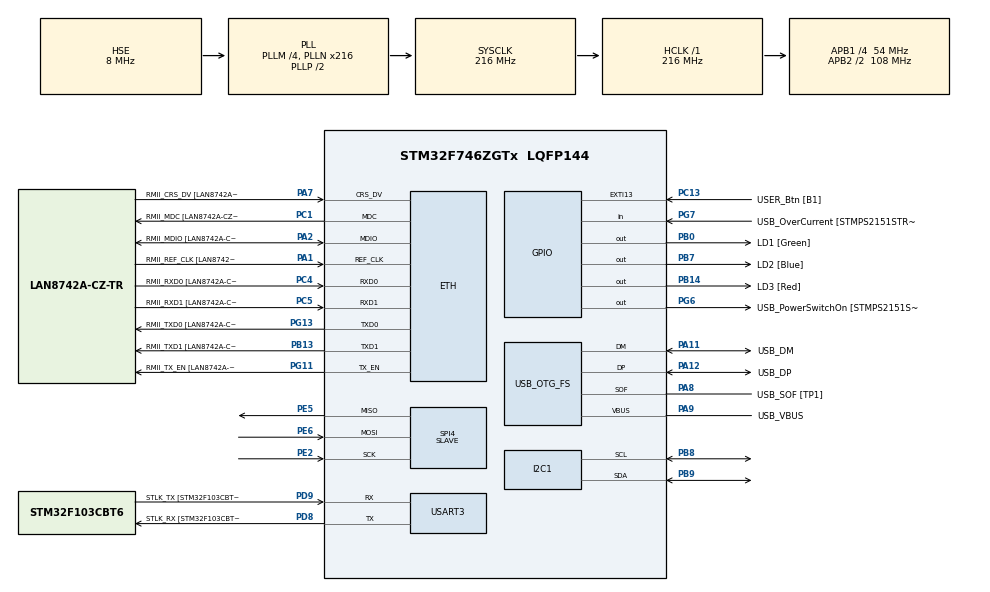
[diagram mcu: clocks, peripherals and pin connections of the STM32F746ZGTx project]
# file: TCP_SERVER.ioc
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CORTEX_M7.ART_ACCELERATOR_ENABLE=1
CORTEX_M7.AccessPermission-Cortex_Memory_Protection_Unit_Region0_Settings=MPU_REGION_FULL_ACCESS
CORTEX_M7.AccessPermission-Cortex_Memory_Protection_Unit_Region1_Settings=MPU_REGION_FULL_ACCESS
CORTEX_M7.BaseAddress-Cortex_Memory_Protection_Unit_Region0_Settings=0x2004c000
CORTEX_M7.BaseAddress-Cortex_Memory_Protection_Unit_Region1_Settings=0x20048000
CORTEX_M7.CPU_DCache=Enabled
CORTEX_M7.CPU_ICache=Enabled
CORTEX_M7.DisableExec-Cortex_Memory_Protection_Unit_Region0_Settings=MPU_INSTRUCTION_ACCESS_DISABLE
CORTEX_M7.DisableExec-Cortex_Memory_Protection_Unit_Region1_Settings=MPU_INSTRUCTION_ACCESS_DISABLE
CORTEX_M7.Enable-Cortex_Memory_Protection_Unit_Region0_Settings=MPU_REGION_ENABLE
CORTEX_M7.Enable-Cortex_Memory_Protection_Unit_Region1_Settings=MPU_REGION_ENABLE
CORTEX_M7.IsShareable-Cortex_Memory_Protection_Unit_Region0_Settings=MPU_ACCESS_SHAREABLE
CORTEX_M7.IsShareable-Cortex_Memory_Protection_Unit_Region1_Settings=MPU_ACCESS_SHAREABLE
CORTEX_M7.MPU_Control=MPU_PRIVILEGED_DEFAULT
CORTEX_M7.PREFETCH_ENABLE=1
CORTEX_M7.Size-Cortex_Memory_Protection_Unit_Region0_Settings=MPU_REGION_SIZE_512B
CORTEX_M7.Size-Cortex_Memory_Protection_Unit_Region1_Settings=MPU_REGION_SIZE_32KB
CORTEX_M7.TypeExtField-Cortex_Memory_Protection_Unit_Region1_Settings=MPU_TEX_LEVEL1
ETH.MediaInterface=HAL_ETH_RMII_MODE
ETH.PHY_Name=LAN8742A_PHY_ADDRESS
ETH.PHY_Value=0
ETH.PhyAddress=0
I2C1.Timing=0x20404768
LWIP.BSP.number=1
LWIP.GATEWAY_ADDRESS=192.168.001.001
LWIP.IP_ADDRESS=192.168.001.110
LWIP.LWIP_DHCP=0
LWIP.NETMASK_ADDRESS=255.255.255.000
LWIP.Version=v2.1.2_Cube
LWIP0.BSP.STBoard=false
LWIP0.BSP.api=BSP_COMPONENT_DRIVER
LWIP0.BSP.component=LAN8742
LWIP0.BSP.instance=LAN8742
LWIP0.BSP.name=Driver_PHY
LWIP0.BSP.semaphore=S_LAN8742
LWIP0.BSP.solution=LAN8742
Mcu.Family=STM32F7
Mcu.Name=STM32F746ZGTx
Mcu.Package=LQFP144
NVIC.PriorityGroup=NVIC_PRIORITYGROUP_4
PA1.GPIO_Label=RMII_REF_CLK [LAN8742A-CZ-TR_REFCLK0]
PA1.Mode=RMII
PA1.Signal=ETH_REF_CLK
PA10.GPIO_Label=USB_ID
PA10.Signal=USB_OTG_FS_ID
PA11.GPIO_Label=USB_DM
PA11.Mode=Device_Only
PA11.Signal=USB_OTG_FS_DM
PA12.GPIO_Label=USB_DP
PA12.Mode=Device_Only
PA12.Signal=USB_OTG_FS_DP
PA13.GPIO_Label=TMS
PA13.Mode=Serial_Wire
PA13.Signal=SYS_JTMS-SWDIO
PA14.GPIO_Label=TCK
PA14.Mode=Serial_Wire
PA14.Signal=SYS_JTCK-SWCLK
PA2.GPIO_Label=RMII_MDIO [LAN8742A-CZ-TR_MDIO]
PA2.Mode=RMII
PA2.Signal=ETH_MDIO
PA7.GPIO_Label=RMII_CRS_DV [LAN8742A-CZ-TR_CRS_DV]
PA7.Mode=RMII
PA7.Signal=ETH_CRS_DV
PA8.GPIO_Label=USB_SOF [TP1]
PA8.Mode=Activate_SOF_FS
PA8.Signal=USB_OTG_FS_SOF
PA9.GPIO_Label=USB_VBUS
PA9.Mode=Activate_VBUS
PA9.Signal=USB_OTG_FS_VBUS
PB0.GPIO_Label=LD1 [Green]
PB0.Signal=GPIO_Output
PB13.GPIO_Label=RMII_TXD1 [LAN8742A-CZ-TR_TXD1]
PB13.Mode=RMII
PB13.Signal=ETH_TXD1
PB14.GPIO_Label=LD3 [Red]
PB14.Signal=GPIO_Output
PB3.GPIO_Label=SW0
PB3.Signal=SYS_JTDO-SWO
PB7.GPIO_Label=LD2 [Blue]
PB7.Signal=GPIO_Output
PB8.Mode=I2C
PB8.Signal=I2C1_SCL
PB9.Mode=I2C
PB9.Signal=I2C1_SDA
PC1.GPIO_Label=RMII_MDC [LAN8742A-CZ-TR_MDC]
PC1.Mode=RMII
PC1.Signal=ETH_MDC
PC13.GPIO_Label=USER_Btn [B1]
PC13.Signal=GPXTI13
PC14/OSC32_IN.Mode=LSE-External-Oscillator
PC14/OSC32_IN.Signal=RCC_OSC32_IN
PC15/OSC32_OUT.Mode=LSE-External-Oscillator
PC15/OSC32_OUT.Signal=RCC_OSC32_OUT
PC4.GPIO_Label=RMII_RXD0 [LAN8742A-CZ-TR_RXD0]
PC4.Mode=RMII
PC4.Signal=ETH_RXD0
PC5.GPIO_Label=RMII_RXD1 [LAN8742A-CZ-TR_RXD1]
PC5.Mode=RMII
PC5.Signal=ETH_RXD1
PD8.GPIO_Label=STLK_RX [STM32F103CBT6_PA3]
PD8.GPIO_PuPd=GPIO_PULLUP
PD8.Mode=Asynchronous
PD8.Signal=USART3_TX
PD9.GPIO_Label=STLK_TX [STM32F103CBT6_PA2]
PD9.GPIO_PuPd=GPIO_PULLUP
PD9.Mode=Asynchronous
PD9.Signal=USART3_RX
PE2.Mode=Full_Duplex_Slave
PE2.Signal=SPI4_SCK
PE5.Mode=Full_Duplex_Slave
PE5.Signal=SPI4_MISO
PE6.Mode=Full_Duplex_Slave
PE6.Signal=SPI4_MOSI
PG11.GPIO_Label=RMII_TX_EN [LAN8742A-CZ-TR_TXEN]
PG11.Mode=RMII
PG11.Signal=ETH_TX_EN
PG13.GPIO_Label=RMII_TXD0 [LAN8742A-CZ-TR_TXD0]
PG13.Mode=RMII
PG13.Signal=ETH_TXD0
PG6.GPIO_Label=USB_PowerSwitchOn [STMPS2151STR_EN]
PG6.Signal=GPIO_Output
PG7.GPIO_Label=USB_OverCurrent [STMPS2151STR_FAULT]
PG7.Signal=GPIO_Input
PH0/OSC_IN.GPIO_Label=MCO [STM32F103CBT6_PA8]
PH0/OSC_IN.Mode=HSE-External-Clock-Source
PH0/OSC_IN.Signal=RCC_OSC_IN
PH1/OSC_OUT.Mode=HSE-External-Clock-Source
PH1/OSC_OUT.Signal=RCC_OSC_OUT
ProjectManager.HeapSize=0x200
ProjectManager.StackSize=0x400
ProjectManager.TargetToolchain=STM32CubeIDE
RCC.48MHZClocksFreq_Value=24000000
RCC.AHBFreq_Value=216000000
RCC.APB1CLKDivider=RCC_HCLK_DIV4
RCC.APB1Freq_Value=54000000
RCC.APB1TimFreq_Value=108000000
RCC.APB2CLKDivider=RCC_HCLK_DIV2
RCC.APB2Freq_Value=108000000
RCC.APB2TimFreq_Value=216000000
RCC.CortexFreq_Value=216000000
RCC.HCLKFreq_Value=216000000
RCC.HSE_VALUE=8000000
RCC.HSI_VALUE=16000000
RCC.PLLM=4
RCC.PLLMUL=RCC_PLL_MUL9
RCC.PLLN=216
RCC.PLLQ=9
RCC.PRESCALERUSB=RCC_USBCLKSOURCE_PLL_DIV1_5
RCC.SYSCLKFreq_VALUE=216000000
RCC.SYSCLKSource=RCC_SYSCLKSOURCE_PLLCLK
RCC.SYSCLKSourceVirtual=RCC_SYSCLKSOURCE_PLLCLK
RCC.USBFreq_Value=48000000
RCC.VCOOutputFreq_Value=432000000
SPI4.DataSize=SPI_DATASIZE_8BIT
SPI4.Direction=SPI_DIRECTION_2LINES
SPI4.Mode=SPI_MODE_SLAVE
SPI4.VirtualType=VM_SLAVE
USART3.VirtualMode-Asynchronous=VM_ASYNC
USB_OTG_FS.VirtualMode=Device_Only
VP_LWIP_VS_Enabled.Mode=Enabled
board=NUCLEO-F746ZG

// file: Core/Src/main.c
/* USER CODE BEGIN Header */
/**
  ******************************************************************************
  * @file           : main.c
  * @brief          : Main program body
  ******************************************************************************
  * @attention
  *
  * Copyright (c) 2025 STMicroelectronics.
  * All rights reserved.
  *
  * This software is licensed under terms that can be found in the LICENSE file
  * in the root directory of this software component.
  * If no LICENSE file comes with this software, it is provided AS-IS.
  *
  ******************************************************************************
  */
/* USER CODE END Header */
#include "main.h"
#include "lwip.h"

/* USER CODE BEGIN Includes */
#include "DAP.h"
#include "helper.h"
#include "port.h"
#include "jtag.h"
/* USER CODE END Includes */

I2C_HandleTypeDef hi2c1;

SPI_HandleTypeDef hspi4;

UART_HandleTypeDef huart3;

PCD_HandleTypeDef hpcd_USB_OTG_FS;

/* USER CODE BEGIN PV */
extern struct netif gnetif;
uint8_t wrBuff[128] = {0};
uint8_t rdBuff[128] = {0};
uint8_t wrIdx = 0;
uint8_t rdIdx = 0;
volatile uint32_t msgAvailable;
/* USER CODE END PV */

void SystemClock_Config(void);
static void MPU_Config(void);
static void MX_GPIO_Init(void);
static void MX_I2C1_Init(void);
static void MX_USART3_UART_Init(void);
static void MX_USB_OTG_FS_PCD_Init(void);
static void MX_SPI4_Init(void);

int main(void)
{

  /* MPU Configuration--------------------------------------------------------*/
  MPU_Config();

  /* Enable the CPU Cache */

  /* Enable I-Cache---------------------------------------------------------*/
  SCB_EnableICache();

  /* Enable D-Cache---------------------------------------------------------*/
  SCB_EnableDCache();

  /* MCU Configuration--------------------------------------------------------*/

  /* Reset of all peripherals, Initializes the Flash interface and the Systick. */
  HAL_Init();

  /* Configure the system clock */
  SystemClock_Config();

  /* Initialize all configured peripherals */
  MX_GPIO_Init();
  MX_I2C1_Init();
  MX_USART3_UART_Init();
  MX_USB_OTG_FS_PCD_Init();
  MX_LWIP_Init();
  MX_SPI4_Init();
  /* USER CODE BEGIN 2 */
  tcp_server_init();

  HardResetSPI();

  Switch_SPI();

  /* USER CODE END 2 */

  /* Infinite loop */
  /* USER CODE BEGIN WHILE */

  while (1)
  {
	  uint32_t num;
	  MX_LWIP_Process();
/*
	  if(msgAvailable)
	  {
		  uint32_t readLen, writeLen;

		  num = DAP_ProcessCommand(rdBuff, wrBuff);

		  readLen = (num & 0xFFFF0000) >> 16;

		  writeLen = (num & 0xFFFF);

		  msgAvailable = 0;

	  }
 */

    /* USER CODE END WHILE */

  }
}

void SystemClock_Config(void)
{
  RCC_OscInitTypeDef RCC_OscInitStruct = {0};
  RCC_ClkInitTypeDef RCC_ClkInitStruct = {0};

  /** Configure LSE Drive Capability
  */
  HAL_PWR_EnableBkUpAccess();

  /** Configure the main internal regulator output voltage
  */
  __HAL_RCC_PWR_CLK_ENABLE();
  __HAL_PWR_VOLTAGESCALING_CONFIG(PWR_REGULATOR_VOLTAGE_SCALE1);

  /** Initializes the RCC Oscillators according to the specified parameters
  * in the RCC_OscInitTypeDef structure.
  */
  RCC_OscInitStruct.OscillatorType = RCC_OSCILLATORTYPE_HSE;
  RCC_OscInitStruct.HSEState = RCC_HSE_BYPASS;
  RCC_OscInitStruct.PLL.PLLState = RCC_PLL_ON;
  RCC_OscInitStruct.PLL.PLLSource = RCC_PLLSOURCE_HSE;
  RCC_OscInitStruct.PLL.PLLM = 4;
  RCC_OscInitStruct.PLL.PLLN = 216;
  RCC_OscInitStruct.PLL.PLLP = RCC_PLLP_DIV2;
  RCC_OscInitStruct.PLL.PLLQ = 9;
  if (HAL_RCC_OscConfig(&RCC_OscInitStruct) != HAL_OK)
  {
    Error_Handler();
  }

  /** Activate the Over-Drive mode
  */
  if (HAL_PWREx_EnableOverDrive() != HAL_OK)
  {
    Error_Handler();
  }

  /** Initializes the CPU, AHB and APB buses clocks
  */
  RCC_ClkInitStruct.ClockType = RCC_CLOCKTYPE_HCLK|RCC_CLOCKTYPE_SYSCLK
                              |RCC_CLOCKTYPE_PCLK1|RCC_CLOCKTYPE_PCLK2;
  RCC_ClkInitStruct.SYSCLKSource = RCC_SYSCLKSOURCE_PLLCLK;
  RCC_ClkInitStruct.AHBCLKDivider = RCC_SYSCLK_DIV1;
  RCC_ClkInitStruct.APB1CLKDivider = RCC_HCLK_DIV4;
  RCC_ClkInitStruct.APB2CLKDivider = RCC_HCLK_DIV2;

  if (HAL_RCC_ClockConfig(&RCC_ClkInitStruct, FLASH_LATENCY_7) != HAL_OK)
  {
    Error_Handler();
  }
}

static void MX_I2C1_Init(void)
{

  hi2c1.Instance = I2C1;
  hi2c1.Init.Timing = 0x20404768;
  hi2c1.Init.OwnAddress1 = 0;
  hi2c1.Init.AddressingMode = I2C_ADDRESSINGMODE_7BIT;
  hi2c1.Init.DualAddressMode = I2C_DUALADDRESS_DISABLE;
  hi2c1.Init.OwnAddress2 = 0;
  hi2c1.Init.OwnAddress2Masks = I2C_OA2_NOMASK;
  hi2c1.Init.GeneralCallMode = I2C_GENERALCALL_DISABLE;
  hi2c1.Init.NoStretchMode = I2C_NOSTRETCH_DISABLE;
  if (HAL_I2C_Init(&hi2c1) != HAL_OK)
  {
    Error_Handler();
  }

  /** Configure Analogue filter
  */
  if (HAL_I2CEx_ConfigAnalogFilter(&hi2c1, I2C_ANALOGFILTER_ENABLE) != HAL_OK)
  {
    Error_Handler();
  }

  /** Configure Digital filter
  */
  if (HAL_I2CEx_ConfigDigitalFilter(&hi2c1, 0) != HAL_OK)
  {
    Error_Handler();
  }

}

static void MX_SPI4_Init(void)
{

  /* SPI4 parameter configuration*/
  hspi4.Instance = SPI4;
  hspi4.Init.Mode = SPI_MODE_SLAVE;
  hspi4.Init.Direction = SPI_DIRECTION_2LINES;
  hspi4.Init.DataSize = SPI_DATASIZE_8BIT;
  hspi4.Init.CLKPolarity = SPI_POLARITY_LOW;
  hspi4.Init.CLKPhase = SPI_PHASE_1EDGE;
  hspi4.Init.NSS = SPI_NSS_SOFT;
  hspi4.Init.FirstBit = SPI_FIRSTBIT_MSB;
  hspi4.Init.TIMode = SPI_TIMODE_DISABLE;
  hspi4.Init.CRCCalculation = SPI_CRCCALCULATION_DISABLE;
  hspi4.Init.CRCPolynomial = 7;
  hspi4.Init.CRCLength = SPI_CRC_LENGTH_DATASIZE;
  hspi4.Init.NSSPMode = SPI_NSS_PULSE_DISABLE;
  if (HAL_SPI_Init(&hspi4) != HAL_OK)
  {
    Error_Handler();
  }

}

static void MX_USART3_UART_Init(void)
{

  huart3.Instance = USART3;
  huart3.Init.BaudRate = 115200;
  huart3.Init.WordLength = UART_WORDLENGTH_8B;
  huart3.Init.StopBits = UART_STOPBITS_1;
  huart3.Init.Parity = UART_PARITY_NONE;
  huart3.Init.Mode = UART_MODE_TX_RX;
  huart3.Init.HwFlowCtl = UART_HWCONTROL_NONE;
  huart3.Init.OverSampling = UART_OVERSAMPLING_16;
  huart3.Init.OneBitSampling = UART_ONE_BIT_SAMPLE_DISABLE;
  huart3.AdvancedInit.AdvFeatureInit = UART_ADVFEATURE_NO_INIT;
  if (HAL_UART_Init(&huart3) != HAL_OK)
  {
    Error_Handler();
  }

}

static void MX_USB_OTG_FS_PCD_Init(void)
{

  hpcd_USB_OTG_FS.Instance = USB_OTG_FS;
  hpcd_USB_OTG_FS.Init.dev_endpoints = 6;
  hpcd_USB_OTG_FS.Init.speed = PCD_SPEED_FULL;
  hpcd_USB_OTG_FS.Init.dma_enable = DISABLE;
  hpcd_USB_OTG_FS.Init.phy_itface = PCD_PHY_EMBEDDED;
  hpcd_USB_OTG_FS.Init.Sof_enable = ENABLE;
  hpcd_USB_OTG_FS.Init.low_power_enable = DISABLE;
  hpcd_USB_OTG_FS.Init.lpm_enable = DISABLE;
  hpcd_USB_OTG_FS.Init.vbus_sensing_enable = ENABLE;
  hpcd_USB_OTG_FS.Init.use_dedicated_ep1 = DISABLE;
  if (HAL_PCD_Init(&hpcd_USB_OTG_FS) != HAL_OK)
  {
    Error_Handler();
  }

}

static void MX_GPIO_Init(void)
{
  GPIO_InitTypeDef GPIO_InitStruct = {0};

  /* GPIO Ports Clock Enable */
  __HAL_RCC_GPIOE_CLK_ENABLE();
  __HAL_RCC_GPIOC_CLK_ENABLE();
  __HAL_RCC_GPIOH_CLK_ENABLE();
  __HAL_RCC_GPIOA_CLK_ENABLE();
  __HAL_RCC_GPIOB_CLK_ENABLE();
  __HAL_RCC_GPIOD_CLK_ENABLE();
  __HAL_RCC_GPIOG_CLK_ENABLE();

  /*Configure GPIO pin Output Level */
  HAL_GPIO_WritePin(GPIOB, LD1_Pin|LD3_Pin|LD2_Pin, GPIO_PIN_RESET);

  /*Configure GPIO pin Output Level */
  HAL_GPIO_WritePin(USB_PowerSwitchOn_GPIO_Port, USB_PowerSwitchOn_Pin, GPIO_PIN_RESET);

  /*Configure GPIO pin : USER_Btn_Pin */
  GPIO_InitStruct.Pin = USER_Btn_Pin;
  GPIO_InitStruct.Mode = GPIO_MODE_IT_RISING;
  GPIO_InitStruct.Pull = GPIO_NOPULL;
  HAL_GPIO_Init(USER_Btn_GPIO_Port, &GPIO_InitStruct);

  /*Configure GPIO pins : LD1_Pin LD3_Pin LD2_Pin */
  GPIO_InitStruct.Pin = LD1_Pin|LD3_Pin|LD2_Pin;
  GPIO_InitStruct.Mode = GPIO_MODE_OUTPUT_PP;
  GPIO_InitStruct.Pull = GPIO_NOPULL;
  GPIO_InitStruct.Speed = GPIO_SPEED_FREQ_LOW;
  HAL_GPIO_Init(GPIOB, &GPIO_InitStruct);

  /*Configure GPIO pin : USB_PowerSwitchOn_Pin */
  GPIO_InitStruct.Pin = USB_PowerSwitchOn_Pin;
  GPIO_InitStruct.Mode = GPIO_MODE_OUTPUT_PP;
  GPIO_InitStruct.Pull = GPIO_NOPULL;
  GPIO_InitStruct.Speed = GPIO_SPEED_FREQ_LOW;
  HAL_GPIO_Init(USB_PowerSwitchOn_GPIO_Port, &GPIO_InitStruct);

  /*Configure GPIO pin : USB_OverCurrent_Pin */
  GPIO_InitStruct.Pin = USB_OverCurrent_Pin;
  GPIO_InitStruct.Mode = GPIO_MODE_INPUT;
  GPIO_InitStruct.Pull = GPIO_NOPULL;
  HAL_GPIO_Init(USB_OverCurrent_GPIO_Port, &GPIO_InitStruct);

}

 /* MPU Configuration */

void MPU_Config(void)
{
  MPU_Region_InitTypeDef MPU_InitStruct = {0};

  /* Disables the MPU */
  HAL_MPU_Disable();

  /** Initializes and configures the Region and the memory to be protected
  */
  MPU_InitStruct.Enable = MPU_REGION_ENABLE;
  MPU_InitStruct.Number = MPU_REGION_NUMBER0;
  MPU_InitStruct.BaseAddress = 0x2004c000;
  MPU_InitStruct.Size = MPU_REGION_SIZE_512B;
  MPU_InitStruct.SubRegionDisable = 0x0;
  MPU_InitStruct.TypeExtField = MPU_TEX_LEVEL0;
  MPU_InitStruct.AccessPermission = MPU_REGION_FULL_ACCESS;
  MPU_InitStruct.DisableExec = MPU_INSTRUCTION_ACCESS_DISABLE;
  MPU_InitStruct.IsShareable = MPU_ACCESS_SHAREABLE;
  MPU_InitStruct.IsCacheable = MPU_ACCESS_NOT_CACHEABLE;
  MPU_InitStruct.IsBufferable = MPU_ACCESS_NOT_BUFFERABLE;

  HAL_MPU_ConfigRegion(&MPU_InitStruct);

  /** Initializes and configures the Region and the memory to be protected
  */
  MPU_InitStruct.Number = MPU_REGION_NUMBER1;
  MPU_InitStruct.BaseAddress = 0x20048000;
  MPU_InitStruct.Size = MPU_REGION_SIZE_32KB;
  MPU_InitStruct.TypeExtField = MPU_TEX_LEVEL1;

  HAL_MPU_ConfigRegion(&MPU_InitStruct);
  /* Enables the MPU */
  HAL_MPU_Enable(MPU_PRIVILEGED_DEFAULT);

}

void Error_Handler(void)
{
  __disable_irq();
  while (1)
  {
  }
}
